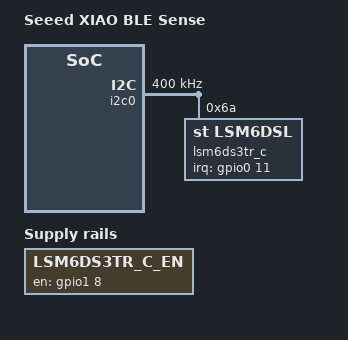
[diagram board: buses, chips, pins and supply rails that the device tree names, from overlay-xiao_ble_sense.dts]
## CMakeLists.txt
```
# SPDX-License-Identifier: Apache-2.0

cmake_minimum_required(VERSION 3.20.0)
find_package(Zephyr REQUIRED HINTS $ENV{ZEPHYR_BASE})
project(nrf52840_nordic)
enable_language(C ASM)

target_sources(app PRIVATE
    src/main.c
    src/transport.c
    src/mic.c
    src/led.c
    src/audio.c
    src/codec.c
    src/storage.c
    src/lib/battery/battery.c
    src/lib/sdcard/sdcard.c
)

target_sources_ifdef(CONFIG_CODEC_OPUS app PRIVATE
    src/lib/opus-1.2.1/A2NLSF.c
    src/lib/opus-1.2.1/CNG.c
    src/lib/opus-1.2.1/HP_variable_cutoff.c
    src/lib/opus-1.2.1/LPC_analysis_filter.c
    src/lib/opus-1.2.1/LPC_fit.c
    src/lib/opus-1.2.1/LPC_inv_pred_gain.c
    src/lib/opus-1.2.1/LP_variable_cutoff.c
    src/lib/opus-1.2.1/LTP_analysis_filter_FIX.c
    src/lib/opus-1.2.1/LTP_scale_ctrl_FIX.c
    src/lib/opus-1.2.1/NLSF2A.c
    src/lib/opus-1.2.1/NLSF_VQ.c
    src/lib/opus-1.2.1/NLSF_VQ_weights_laroia.c
    src/lib/opus-1.2.1/NLSF_decode.c
    src/lib/opus-1.2.1/NLSF_del_dec_quant.c
    src/lib/opus-1.2.1/NLSF_encode.c
    src/lib/opus-1.2.1/NLSF_stabilize.c
    src/lib/opus-1.2.1/NLSF_unpack.c
    src/lib/opus-1.2.1/NSQ.c
    src/lib/opus-1.2.1/NSQ_del_dec.c
    src/lib/opus-1.2.1/PLC.c
    src/lib/opus-1.2.1/VAD.c
    src/lib/opus-1.2.1/VQ_WMat_EC.c
    src/lib/opus-1.2.1/ana_filt_bank_1.c
    src/lib/opus-1.2.1/analysis.c
    src/lib/opus-1.2.1/apply_sine_window_FIX.c
    src/lib/opus-1.2.1/autocorr_FIX.c
    src/lib/opus-1.2.1/bands.c
    src/lib/opus-1.2.1/biquad_alt.c
    src/lib/opus-1.2.1/burg_modified_FIX.c
    src/lib/opus-1.2.1/bwexpander.c
    src/lib/opus-1.2.1/bwexpander_32.c
    src/lib/opus-1.2.1/celt.c
    src/lib/opus-1.2.1/celt_decoder.c
    src/lib/opus-1.2.1/celt_encoder.c
    src/lib/opus-1.2.1/celt_lpc.c
    src/lib/opus-1.2.1/arm/celt_pitch_xcorr_arm_gcc.s
    src/lib/opus-1.2.1/check_control_input.c
    src/lib/opus-1.2.1/code_signs.c
    src/lib/opus-1.2.1/control_SNR.c
    src/lib/opus-1.2.1/control_audio_bandwidth.c
    src/lib/opus-1.2.1/control_codec.c
    src/lib/opus-1.2.1/corrMatrix_FIX.c
    src/lib/opus-1.2.1/cwrs.c
    src/lib/opus-1.2.1/debug.c
    src/lib/opus-1.2.1/dec_API.c
    src/lib/opus-1.2.1/decode_core.c
    src/lib/opus-1.2.1/decode_frame.c
    src/lib/opus-1.2.1/decode_indices.c
    src/lib/opus-1.2.1/decode_parameters.c
    src/lib/opus-1.2.1/decode_pitch.c
    src/lib/opus-1.2.1/decode_pulses.c
    src/lib/opus-1.2.1/decoder_set_fs.c
    src/lib/opus-1.2.1/enc_API.c
    src/lib/opus-1.2.1/encode_frame_FIX.c
    src/lib/opus-1.2.1/encode_indices.c
    src/lib/opus-1.2.1/encode_pulses.c
    src/lib/opus-1.2.1/entcode.c
    src/lib/opus-1.2.1/entdec.c
    src/lib/opus-1.2.1/entenc.c
    src/lib/opus-1.2.1/find_LPC_FIX.c
    src/lib/opus-1.2.1/find_LTP_FIX.c
    src/lib/opus-1.2.1/find_pitch_lags_FIX.c
    src/lib/opus-1.2.1/find_pred_coefs_FIX.c
    src/lib/opus-1.2.1/gain_quant.c
    src/lib/opus-1.2.1/init_decoder.c
    src/lib/opus-1.2.1/init_encoder.c
    src/lib/opus-1.2.1/inner_prod_aligned.c
    src/lib/opus-1.2.1/interpolate.c
    src/lib/opus-1.2.1/k2a_FIX.c
    src/lib/opus-1.2.1/k2a_Q16_FIX.c
    src/lib/opus-1.2.1/kiss_fft.c
    src/lib/opus-1.2.1/laplace.c
    src/lib/opus-1.2.1/lin2log.c
    src/lib/opus-1.2.1/log2lin.c
    src/lib/opus-1.2.1/mathops.c
    src/lib/opus-1.2.1/mdct.c
    src/lib/opus-1.2.1/mlp.c
    src/lib/opus-1.2.1/mlp_data.c
    src/lib/opus-1.2.1/modes.c
    src/lib/opus-1.2.1/noise_shape_analysis_FIX.c
    src/lib/opus-1.2.1/opus.c
    src/lib/opus-1.2.1/opus_decoder.c
    src/lib/opus-1.2.1/opus_encoder.c
    src/lib/opus-1.2.1/opus_multistream.c
    src/lib/opus-1.2.1/opus_multistream_decoder.c
    src/lib/opus-1.2.1/opus_multistream_encoder.c
    src/lib/opus-1.2.1/pitch.c
    src/lib/opus-1.2.1/pitch_analysis_core_FIX.c
    src/lib/opus-1.2.1/pitch_est_tables.c
    src/lib/opus-1.2.1/process_NLSFs.c
    src/lib/opus-1.2.1/process_gains_FIX.c
    src/lib/opus-1.2.1/quant_LTP_gains.c
    src/lib/opus-1.2.1/quant_bands.c
    src/lib/opus-1.2.1/rate.c
    src/lib/opus-1.2.1/regularize_correlations_FIX.c
    src/lib/opus-1.2.1/repacketizer.c
    src/lib/opus-1.2.1/resampler.c
    src/lib/opus-1.2.1/resampler_down2.c
    src/lib/opus-1.2.1/resampler_down2_3.c
    src/lib/opus-1.2.1/resampler_private_AR2.c
    src/lib/opus-1.2.1/resampler_private_IIR_FIR.c
    src/lib/opus-1.2.1/resampler_private_down_FIR.c
    src/lib/opus-1.2.1/resampler_private_up2_HQ.c
    src/lib/opus-1.2.1/resampler_rom.c
    src/lib/opus-1.2.1/residual_energy16_FIX.c
    src/lib/opus-1.2.1/residual_energy_FIX.c
    src/lib/opus-1.2.1/schur64_FIX.c
    src/lib/opus-1.2.1/schur_FIX.c
    src/lib/opus-1.2.1/shell_coder.c
    src/lib/opus-1.2.1/sigm_Q15.c
    src/lib/opus-1.2.1/sort.c
    src/lib/opus-1.2.1/stereo_LR_to_MS.c
    src/lib/opus-1.2.1/stereo_MS_to_LR.c
    src/lib/opus-1.2.1/stereo_decode_pred.c
    src/lib/opus-1.2.1/stereo_encode_pred.c
    src/lib/opus-1.2.1/stereo_find_predictor.c
    src/lib/opus-1.2.1/stereo_quant_pred.c
    src/lib/opus-1.2.1/sum_sqr_shift.c
    src/lib/opus-1.2.1/table_LSF_cos.c
    src/lib/opus-1.2.1/tables_LTP.c
    src/lib/opus-1.2.1/tables_NLSF_CB_NB_MB.c
    src/lib/opus-1.2.1/tables_NLSF_CB_WB.c
    src/lib/opus-1.2.1/tables_gain.c
    src/lib/opus-1.2.1/tables_other.c
    src/lib/opus-1.2.1/tables_pitch_lag.c
    src/lib/opus-1.2.1/tables_pulses_per_block.c
    src/lib/opus-1.2.1/vector_ops_FIX.c
    src/lib/opus-1.2.1/vq.c
    src/lib/opus-1.2.1/warped_autocorrelation_FIX.c
    src/lib/opus-1.2.1/arm/celt_pitch_xcorr_arm_gcc.s
)

set(CMAKE_C_FLAGS "${CMAKE_C_FLAGS} -DARM_MATH_CM4")
# set(CMAKE_C_FLAGS "${CMAKE_C_FLAGS} -DVAR_ARRAYS")
set(CMAKE_C_FLAGS "${CMAKE_C_FLAGS} -DOPUS_ARM_ASM")
set(CMAKE_C_FLAGS "${CMAKE_C_FLAGS} -DOPUS_ARM_INLINE_ASM")
set(CMAKE_C_FLAGS "${CMAKE_C_FLAGS} -DOPUS_ARM_INLINE_EDSP")
set(CMAKE_C_FLAGS "${CMAKE_C_FLAGS} -DOPUS_ARM_INLINE_MEDIA")
set(CMAKE_C_FLAGS "${CMAKE_C_FLAGS} -DOPUS_ARM_MAY_HAVE_EDSP")
set(CMAKE_C_FLAGS "${CMAKE_C_FLAGS} -DOPUS_ARM_PRESUME_EDSP")
set(CMAKE_C_FLAGS "${CMAKE_C_FLAGS} -DOPUS_BUILD")
set(CMAKE_C_FLAGS "${CMAKE_C_FLAGS} -DUSE_ALLOCA")
set(CMAKE_C_FLAGS "${CMAKE_C_FLAGS} -DFIXED_POINT -DDISABLE_FLOAT_API")
set(CMAKE_C_FLAGS "${CMAKE_C_FLAGS} -DHAVE_CONFIG_H")
set(CMAKE_C_FLAGS "${CMAKE_C_FLAGS} -DHAVE_ALLOCA_H")
set(CMAKE_C_FLAGS "${CMAKE_C_FLAGS} -fsingle-precision-constant") # A lot of constants are written as doubles
set(CMAKE_C_FLAGS "${CMAKE_C_FLAGS} -DHAVE_LRINT -DHAVE_LRINTF")
```

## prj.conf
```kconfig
#
# Hardware settings
#

CONFIG_GPIO=y
CONFIG_NRFX_PDM=y
CONFIG_ADC=y


#
# SD Card settings
#

CONFIG_DISK_ACCESS=y
CONFIG_FILE_SYSTEM=y
CONFIG_FAT_FILESYSTEM_ELM=y
CONFIG_FS_FATFS_MOUNT_MKFS=y
CONFIG_FS_FATFS_EXFAT=y
CONFIG_PRINTK=y
CONFIG_MAIN_STACK_SIZE=5096
CONFIG_DEBUG_OPTIMIZATIONS=y
CONFIG_DISK_DRIVER_SDMMC=y
CONFIG_SPI=y
CONFIG_HEAP_MEM_POOL_SIZE=3048

#
# Bluetooth settings
#

CONFIG_BT=y
CONFIG_BT_PERIPHERAL=y
CONFIG_BT_DEVICE_NAME="Friend"
CONFIG_BT_MAX_CONN=1
CONFIG_BT_MAX_PAIRED=1
CONFIG_BT_DEVICE_APPEARANCE=22
CONFIG_BT_GATT_DYNAMIC_DB=y

# CONFIG_BT_L2CAP_DYNAMIC_CHANNEL=y
# CONFIG_BT_SMP=y
# CONFIG_BT_LL_SW_SPLIT=y # Alternative implementation

# Battery and Device Information services
CONFIG_BT_BAS=y
CONFIG_BT_DIS=y
CONFIG_BT_DIS_PNP=n
CONFIG_BT_DIS_MODEL="Friend"
CONFIG_BT_DIS_MANUF="Based Hardware"
CONFIG_BT_DIS_FW_REV=y
CONFIG_BT_DIS_HW_REV=y
CONFIG_BT_DIS_FW_REV_STR="1.0.3"
CONFIG_BT_DIS_HW_REV_STR="Seeed Xiao BLE Sense"

# Large packets
CONFIG_BT_L2CAP_TX_MTU=498
CONFIG_BT_L2CAP_TX_BUF_COUNT=10
# CONFIG_BT_ATT_TX_COUNT=10
CONFIG_BT_CONN_TX_MAX=30
CONFIG_BT_BUF_ACL_RX_SIZE=2048
CONFIG_BT_BUF_ACL_TX_SIZE=2048
CONFIG_BT_CTLR_DATA_LENGTH_MAX=251

CONFIG_BT_USER_DATA_LEN_UPDATE=y
CONFIG_BT_AUTO_DATA_LEN_UPDATE=y
CONFIG_BT_USER_PHY_UPDATE=y
CONFIG_BT_AUTO_PHY_UPDATE=y

# Codecs
# CONFIG_LIBLC3=y

# Debug
# CONFIG_DEBUG=y
# CONFIG_ASSERT=y
# CONFIG_LOG=y
# CONFIG_LOG_PRINTK=y
# CONFIG_LOG_BUFFER_SIZE=4096
# CONFIG_LOG_PROCESS_THREAD_STACK_SIZE=4096
# CONFIG_LOG_MODE_IMMEDIATE=y

# Log Levels
# CONFIG_BT_DEBUG_LOG=y
# CONFIG_BT_L2CAP_LOG_LEVEL_DBG=y
# CONFIG_BT_LOG_LEVEL_DBG=y

# CONFIG_LOG_PROCESS_THREAD_STACK_SIZE=4096
# CONFIG_BT_RX_STACK_SIZE=4096
# CONFIG_BT_CTLR_RX_PRIO_STACK_SIZE=4096
# CONFIG_BT_DEBUG_LOG=y
# CONFIG_LOG_BUFFER_SIZE=32000
# CONFIG_LOG_OVERRIDE_LEVEL=4
# CONFIG_LOG_PROCESS_THREAD_STACK_SIZE=4096
# CONFIG_BT_RX_STACK_SIZE=4096
# CONFIG_BT_CTLR_RX_PRIO_STACK_SIZE=4096

# RTT
# CONFIG_UART_CONSOLE=n
# CONFIG_SEGGER_RTT_BUFFER_SIZE_UP=2048
# CONFIG_RTT_CONSOLE=y
# CONFIG_LOG_BACKEND_RTT=y
```

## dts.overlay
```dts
/*
 * Copyright (c) 2022-2023 Marcin Niestroj
 *
 * SPDX-License-Identifier: Apache-2.0
 */

 /dts-v1/;
 #include "xiao_ble_common.dtsi"
 #include <zephyr/dt-bindings/spi/spi.h>
 #include <zephyr/dt-bindings/gpio/nordic-nrf-gpio.h>
 
 &spi2 {
     compatible = "nordic,nrf-spi";
     status = "okay";
     sck-pin = <13>;    /* SPI clock pin */
     mosi-pin = <15>;   /* SPI MOSI pin */
     miso-pin = <14>;   /* SPI MISO pin */
     cs-gpios = <&gpio1 12 GPIO_ACTIVE_LOW>;  /* SPI Chip Select pin */
     pinctrl-0 = <&spi2_default>;
     pinctrl-names = "default";
 };
 
 &pinctrl {
	spi2_default: spi2_default {
		pins = <NRF_P0_PIN(13) /* SCK */
			NRF_P0_PIN(15) /* MOSI */
			NRF_P0_PIN(14) /* MISO */
			NRF_P0_PIN(12) /* CS */
		>;
	};
};
```

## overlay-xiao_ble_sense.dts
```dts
/*
 * Copyright (c) 2022-2023 Marcin Niestroj
 *
 * SPDX-License-Identifier: Apache-2.0
 */

/dts-v1/;
#include "xiao_ble_common.dtsi"
#include <zephyr/dt-bindings/i2c/i2c.h>
#include <zephyr/dt-bindings/gpio/nordic-nrf-gpio.h>

/ {
	model = "Seeed XIAO BLE Sense";
	compatible = "seeed,xiao-ble", "seeed,xiao-ble-sense";

	lsm6ds3tr-c-en {
		compatible = "regulator-fixed-sync", "regulator-fixed";
		enable-gpios = <&gpio1 8 (NRF_GPIO_DRIVE_S0H1 | GPIO_ACTIVE_HIGH)>;
		regulator-name = "LSM6DS3TR_C_EN";
		regulator-boot-on;
		startup-delay-us = <3000>;
	};
};

&i2c0 {
	compatible = "nordic,nrf-twim";
	/* Cannot be used together with spi0. */
	status = "okay";
	pinctrl-0 = <&i2c0_default>;
	pinctrl-1 = <&i2c0_sleep>;
	pinctrl-names = "default", "sleep";
	clock-frequency = <I2C_BITRATE_FAST>;

	lsm6ds3tr_c: lsm6ds3tr-c@6a {
		compatible = "st,lsm6dsl";
		reg = <0x6a>;
		irq-gpios = <&gpio0 11 GPIO_ACTIVE_HIGH>;
		status = "okay";
	};
};
```

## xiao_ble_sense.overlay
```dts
&spi2 {
	status = "okay";
	pinctrl-0 = <&custom_spi>;
	pinctrl-1 = <&custom_spi>;
	pinctrl-names = "default", "sleep";
	cs-gpios = <&gpio0 28 GPIO_ACTIVE_LOW>;

	sdhc0: sdhc@0 {
		compatible = "zephyr,sdhc-spi-slot";
		reg = <0>;
		status = "okay";
		label = "SDHC_0";
		mmc {
			compatible = "zephyr,sdmmc-disk";
			status = "okay";
		};
		spi-max-frequency = <40000000>;
	};
};

&pinctrl {
	custom_spi: custom_spi {
		group1 {
			psels = <NRF_PSEL(SPIM_SCK, 1, 13)>,
				<NRF_PSEL(SPIM_MOSI, 1, 15)>,
				<NRF_PSEL(SPIM_MISO, 1, 14)>;
		};
	};
};
```

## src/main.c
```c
#include <zephyr/kernel.h>
#include <zephyr/logging/log.h>
#include "transport.h"
#include "storage.h"
#include "mic.h"
#include "utils.h"
#include "led.h"
#include "config.h"
#include "audio.h"
#include "codec.h"

static void codec_handler(uint8_t *data, size_t len)
{
	broadcast_audio_packets(data, len); // Errors are logged inside
}

static void mic_handler(int16_t *buffer)
{
	codec_receive_pcm(buffer, MIC_BUFFER_SAMPLES); // Errors are logged inside
}

void bt_ctlr_assert_handle(char *name, int type)
{
	if (name != NULL)
	{
		printk("Bt assert-> %s", name);
	}
}

// Main loop
int main(void)
{
	// Led start
	ASSERT_OK(led_start());
	set_led_blue(true);

	// Transport start
	ASSERT_OK(transport_start());

	// Codec start
	set_codec_callback(codec_handler);
	ASSERT_OK(codec_start());

	// Mic start
	set_mic_callback(mic_handler);
	ASSERT_OK(mic_start());

	// Storage start
	init_storage();

	// Blink LED
	bool is_on = true;
	//set_led_blue(false);
	set_led_red(is_on);

	while (1)
	{
		read_audio_in_storage();
		
		is_on = !is_on;
		set_led_red(is_on);
		k_msleep(500);
	}

	// Unreachable
	return 0;
}
```

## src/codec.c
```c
#include <zephyr/sys/ring_buffer.h>
#include "codec.h"
#include "audio.h"
#include "config.h"
#include "utils.h"
#ifdef CODEC_OPUS
#include "lib/opus-1.2.1/opus.h"
#endif

//
// Output
//

static volatile codec_callback _callback = NULL;
static bool verbose = false;

void set_codec_callback(codec_callback callback)
{
    _callback = callback;
}

//
// Input
//

uint8_t codec_ring_buffer_data[AUDIO_BUFFER_SAMPLES * 2]; // 2 bytes per sample
struct ring_buf codec_ring_buf;

int codec_receive_pcm(int16_t *data, size_t len)
{
    int written = ring_buf_put(&codec_ring_buf, (uint8_t *)data, len * 2);
    if (written != len * 2)
    {
        if(verbose) printk("Failed to write %d bytes to codec ring buffer\n", len * 2);
        return -1;
    }
    return 0;
}

//
// Thread
//

int16_t codec_input_samples[CODEC_PACKAGE_SAMPLES];
uint8_t codec_output_bytes[CODEC_OUTPUT_MAX_BYTES];
K_THREAD_STACK_DEFINE(codec_stack, 32000);
static struct k_thread codec_thread;
uint16_t execute_codec();

#if CODEC_OPUS
#if (CONFIG_OPUS_MODE == CONFIG_OPUS_MODE_CELT)
#define OPUS_ENCODER_SIZE 7180
#endif
#if (CONFIG_OPUS_MODE == CONFIG_OPUS_MODE_HYBRID)
#define OPUS_ENCODER_SIZE 10916
#endif
__ALIGN(4)
static uint8_t m_opus_encoder[OPUS_ENCODER_SIZE];
static OpusEncoder *const m_opus_state = (OpusEncoder *)m_opus_encoder;
#endif

void codec_entry()
{
    uint16_t output_size;
    while (1)
    {

        // Check if we have enough data
        if (ring_buf_size_get(&codec_ring_buf) < CODEC_PACKAGE_SAMPLES * 2)
        {
            k_sleep(K_MSEC(10));
            continue;
        }

        // Read package
        ring_buf_get(&codec_ring_buf, (uint8_t *)codec_input_samples, CODEC_PACKAGE_SAMPLES * 2);

        // Run Codec
        output_size = execute_codec();

        // Notify
        if (_callback)
        {
            _callback(codec_output_bytes, output_size);
        }

        // Yield
        k_yield();
    }
}

int codec_start()
{
    
// OPUS
#if CODEC_OPUS
    ASSERT_TRUE(opus_encoder_get_size(1) == sizeof(m_opus_encoder));
    ASSERT_TRUE(opus_encoder_init(m_opus_state, 16000, 1, CODEC_OPUS_APPLICATION) == OPUS_OK);
    ASSERT_TRUE(opus_encoder_ctl(m_opus_state, OPUS_SET_BITRATE(CODEC_OPUS_BITRATE)) == OPUS_OK);
    ASSERT_TRUE(opus_encoder_ctl(m_opus_state, OPUS_SET_VBR(CODEC_OPUS_VBR)) == OPUS_OK);
    ASSERT_TRUE(opus_encoder_ctl(m_opus_state, OPUS_SET_VBR_CONSTRAINT(0)) == OPUS_OK);
    ASSERT_TRUE(opus_encoder_ctl(m_opus_state, OPUS_SET_COMPLEXITY(CODEC_OPUS_COMPLEXITY)) == OPUS_OK);
    ASSERT_TRUE(opus_encoder_ctl(m_opus_state, OPUS_SET_SIGNAL(OPUS_SIGNAL_VOICE)) == OPUS_OK);
    ASSERT_TRUE(opus_encoder_ctl(m_opus_state, OPUS_SET_LSB_DEPTH(16)) == OPUS_OK);
    ASSERT_TRUE(opus_encoder_ctl(m_opus_state, OPUS_SET_DTX(0)) == OPUS_OK);
    ASSERT_TRUE(opus_encoder_ctl(m_opus_state, OPUS_SET_INBAND_FEC(0)) == OPUS_OK);
    ASSERT_TRUE(opus_encoder_ctl(m_opus_state, OPUS_SET_PACKET_LOSS_PERC(0)) == OPUS_OK);
#endif

    // Thread
    ring_buf_init(&codec_ring_buf, sizeof(codec_ring_buffer_data), codec_ring_buffer_data);
    k_thread_create(&codec_thread, codec_stack, K_THREAD_STACK_SIZEOF(codec_stack), (k_thread_entry_t)codec_entry, NULL, NULL, NULL, K_PRIO_PREEMPT(4), 0, K_NO_WAIT);

    // Success
    return 0;
}

//
// MU-Law codec
//

#if CODEC_MU_LAW

uint16_t execute_codec()
{
    for (int i = 0; i < CODEC_PACKAGE_SAMPLES / CODEC_DIVIDER; i++)
    {
        codec_output_bytes[i] = linear2ulaw(codec_input_samples[i * CODEC_DIVIDER]);
    }
    return CODEC_PACKAGE_SAMPLES / CODEC_DIVIDER;
}

#endif

//
// PCM codec
//

#if CODEC_PCM

uint16_t execute_codec()
{
    for (int i = 0; i < CODEC_PACKAGE_SAMPLES / CODEC_DIVIDER; i++)
    {
        codec_output_bytes[i * 2] = codec_input_samples[i * CODEC_DIVIDER] & 0xFF;
        codec_output_bytes[i * 2 + 1] = (codec_input_samples[i * CODEC_DIVIDER] >> 8) & 0xFF;
    }
    return (CODEC_PACKAGE_SAMPLES / CODEC_DIVIDER) * 2;
}
#endif

//
// Opus codec
//

#if CODEC_OPUS

uint16_t execute_codec()
{
    opus_int32 size = opus_encode(m_opus_state, codec_input_samples, CODEC_PACKAGE_SAMPLES, codec_output_bytes, sizeof(codec_output_bytes));
    if (size < 0)
    {
        printk("Opus encoding failed: %d\n", size);
        return 0;
    }
    // printk("Opus encoding success: %i\n", size);
    return size;
}

#endif
```

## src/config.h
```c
#include <haly/nrfy_gpio.h>

// #define SAMPLE_RATE 16000
#define MIC_GAIN 64
#define MIC_IRC_PRIORITY 7
#define MIC_BUFFER_SAMPLES 1600    // 100ms
#define AUDIO_BUFFER_SAMPLES 16000 // 1s
#define NETWORK_RING_BUF_SIZE 32   // number of frames * CODEC_OUTPUT_MAX_BYTES
#define MINIMAL_PACKET_SIZE 100    // Less than that doesn't make sence to send anything at all

// PIN definitions
// https://github.com/Seeed-Studio/Adafruit_nRF52_Arduino/blob/5aa3573913449410fd60f76b75673c53855ff2ec/variants/Seeed_XIAO_nRF52840_Sense/variant.cpp#L34
#define PDM_DIN_PIN NRF_GPIO_PIN_MAP(0, 16)
#define PDM_CLK_PIN NRF_GPIO_PIN_MAP(1, 0)
#define PDM_PWR_PIN NRF_GPIO_PIN_MAP(1, 10)

// Codecs
// #define CODEC_PCM 1
// #define CODEC_MU_LAW 1
#define CODEC_OPUS 1

// Codec packages
#if CODEC_PCM | CODEC_MU_LAW
#define CODEC_DIVIDER 2           // 1 or 2
#define CODEC_PACKAGE_SAMPLES 160 // 10ms
#if CODEC_PCM
#define CODEC_OUTPUT_MAX_BYTES CODEC_PACKAGE_SAMPLES * 2
#else
#define CODEC_OUTPUT_MAX_BYTES CODEC_PACKAGE_SAMPLES
#endif
#endif

#if CODEC_OPUS
#define CODEC_PACKAGE_SAMPLES 160
#define CODEC_OUTPUT_MAX_BYTES CODEC_PACKAGE_SAMPLES * 2 // Let's assume that 16bit is enough
#define CODEC_OPUS_APPLICATION OPUS_APPLICATION_RESTRICTED_LOWDELAY
#define CODEC_OPUS_BITRATE 32000
#define CODEC_OPUS_VBR 1 // Or 1
#define CODEC_OPUS_COMPLEXITY 3
#endif
#define CONFIG_OPUS_MODE CONFIG_OPUS_MODE_CELT

// Codec IDs
#ifdef CODEC_PCM
#if CODEC_DIVIDER == 1
#define CODEC_ID 0
#elif CODEC_DIVIDER == 2
#define CODEC_ID 1
#endif
#endif

#ifdef CODEC_MU_LAW
#if CODEC_DIVIDER == 1
#define CODEC_ID 10
#elif CODEC_DIVIDER == 2
#define CODEC_ID 11
#endif
#endif

#ifdef CODEC_OPUS
#define CODEC_ID 20
#endif

// Logs
// #define LOG_DISCARDED
```

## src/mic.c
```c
#include <zephyr/kernel.h>
#include <zephyr/device.h>
#include <zephyr/drivers/gpio.h>
#include <haly/nrfy_gpio.h>
#include "nrfx_clock.h"
#include "nrfx_pdm.h"
#include "config.h"
#include "mic.h"
#include "utils.h"
#include "led.h"

//
// Port of this code: https://github.com/Seeed-Studio/Seeed_Arduino_Mic/blob/master/src/hardware/nrf52840_adc.cpp
//

static int16_t _buffer_0[MIC_BUFFER_SAMPLES];
static int16_t _buffer_1[MIC_BUFFER_SAMPLES];
static volatile uint8_t _next_buffer_index = 0;
static volatile mix_handler _callback = NULL;

static void pdm_irq_handler(nrfx_pdm_evt_t const *event)
{
    // Ignore error (how to handle?)
    if (event->error)
    {
        printk("PDM error\n");
        return;
    }

    // Assign buffer
    if (event->buffer_requested)
    {
        // printk("Buffer requested\n");
        if (_next_buffer_index == 0)
        {
            nrfx_pdm_buffer_set(_buffer_0, MIC_BUFFER_SAMPLES);
            _next_buffer_index = 1;
        }
        else
        {
            nrfx_pdm_buffer_set(_buffer_1, MIC_BUFFER_SAMPLES);
            _next_buffer_index = 0;
        }
    }

    // Release buffer
    if (event->buffer_released)
    {
        // printk("Buffer released\n");
        if (_callback)
        {
            _callback(event->buffer_released);
        }
    }
}

int mic_start()
{

    // Start the high frequency clock
    if (!nrf_clock_hf_is_running(NRF_CLOCK, NRF_CLOCK_HFCLK_HIGH_ACCURACY))
    {
        nrf_clock_task_trigger(NRF_CLOCK, NRF_CLOCK_TASK_HFCLKSTART);
    }

    // Configure PDM
    nrfx_pdm_config_t pdm_config = NRFX_PDM_DEFAULT_CONFIG(PDM_CLK_PIN, PDM_DIN_PIN);
    pdm_config.gain_l = MIC_GAIN;
    pdm_config.gain_r = MIC_GAIN;
    pdm_config.interrupt_priority = MIC_IRC_PRIORITY;
    pdm_config.clock_freq = NRF_PDM_FREQ_1280K;
    pdm_config.mode = NRF_PDM_MODE_MONO;
    pdm_config.edge = NRF_PDM_EDGE_LEFTFALLING;
    pdm_config.ratio = NRF_PDM_RATIO_80X;
    IRQ_DIRECT_CONNECT(PDM_IRQn, 5, nrfx_pdm_irq_handler, 0); // IMPORTANT!
    if (nrfx_pdm_init(&pdm_config, pdm_irq_handler) != NRFX_SUCCESS)
    {
        printk("Unable to initialize PDM\n");
        return -1;
    }

    // Power on Mic
    nrfy_gpio_cfg_output(PDM_PWR_PIN);
    nrfy_gpio_pin_set(PDM_PWR_PIN);

    // Start PDM
    if (nrfx_pdm_start() != NRFX_SUCCESS)
    {
        printk("Unable to start PDM\n");
        return -1;
    }

    printk("Microphone started\n");
    return 0;
}

void set_mic_callback(mix_handler callback) {
    _callback = callback;
}
```

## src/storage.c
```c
#include "storage.h"

static char current_path[MAX_PATH_SIZE];
const size_t written_max_count = 1000; // number of frames per file
static char file_path[MAX_PATH_SIZE];
static bool written_concat = true;
static size_t written_count = 0;
static uint16_t file_count = 0;
static bool verbose = true; // set to true if you want to enable verbose output
int notification_value = 0;


int init_storage(void)
{
    if (mount_sd_card())
    {
        if (verbose) printf("Failed to mount SD card\n");
        mounted = false;
        return -1;
    }

    if (verbose) printf("Successfully mounted SD card\n");
    mounted = true;
    return 0;    
}

ReadInfo get_current_file(void)
{
    ReadInfo readInfo;
    readInfo.ret = -1;

    ReadParams info = read_file("info.txt");

    if (info.ret < 0)
    {
        readInfo.ret = -1;
        return readInfo;
    }

    if (info.data != NULL)
    {
        uint8_t number;
        char *file_name = extract_after(info.data);
        extract_number(info.data, &number);
        free(file_name);
        readInfo.name = number;
        readInfo.ret = 0;
    }
    return readInfo;
}

ReadParams verify_info(void)
{
    ReadParams res;
    res.data = '\0';
    int status = -1;
    res.ret = 0;

    if (written_count == 0) 
    {
        res = read_file("info.txt");

        if (strlen(res.data) == 0)
        {
            create_file("audio/1.txt");
            write_info("audio/1.txt,status:NO");

            res.data = "audio/1.txt";
            res.ret = 0;
            
            return res;
        }

        if (res.ret == 0 && res.data != NULL)
        {   
            uint8_t number;
            process_file(res.data, current_path, &status);
            
            if (extract_number(current_path, &number) == 0) 
            {
                notification_value = number;
                file_count = number;
            }

            res.ret = status;
            res.data = current_path;
        }
    }
    return res;
}

int if_file_exist(void)
{
    ReadParams ret = verify_info();
    
    if (ret.ret >= 0 && !written_concat)
    {
        char file_info[MAX_DATA_SIZE];
        char *result = extract_after(current_path);
        if (result == NULL)
        {
            if(verbose) printf("Failed to extract after\n");
            return -1;
        }

        char *new_filename = generate_next_filename(result);

        free(result);

        if (new_filename != NULL)
        {
            snprintf(file_path, sizeof(file_path), "audio/%s", new_filename);
            snprintf(file_info, sizeof(file_info), "audio/%s,status:NO", new_filename);
            
            create_file(file_path);
            write_info(file_info);

            written_concat = true;
            
            free(new_filename);

            return 0;
        }
    }

    if (written_concat && ret.data != NULL)
    {
        strncpy(file_path, ret.data, sizeof(file_path) - 1);
        set_path(file_path);
    }

    return 0;
}

int save_audio_in_storage(uint8_t *buffer, size_t lenght)
{
    if (!mounted) return -2;

    int ret = if_file_exist();

    if (ret > -1)
    {
        bool endBuffer = false;
        
        if (written_count < written_max_count)
        {
            if (written_count == written_max_count - 1)
            {
                endBuffer = true;
            }
            int res = write_file(buffer, lenght, true, endBuffer);
            if(res > -1) written_count++;
        }

        if (written_count == written_max_count)
        {
            written_concat = false;
            written_count = 0;
        }

        return 0;
    }
    return -1;
}

char *generate_next_filename(const char *input_filename) 
{
    char result[MAX_PATH_SIZE];

    size_t input_length = strlen(input_filename);
    if (input_length < 5) 
    {
        return NULL;
    }

    char number_part[MAX_PATH_SIZE];
    strncpy(number_part, input_filename, input_length - 4);
    number_part[input_length - 4] = '\0';

    uint8_t number = (uint8_t)atoi(number_part);
    number++;

    snprintf(result, sizeof(result), "%d.txt", number);

    char *static_result = strdup(result);
    return static_result;
}

void process_file(const char *file, char *path, int *status) 
{
    if (file == NULL || path == NULL || status == NULL) 
    {
        return;
    }
    
    size_t trunc_length = 10;
    size_t file_len = strlen(file);

    if (file_len > trunc_length) 
    {
        if (file_len - trunc_length > 4)
        {
            strncpy(path, file, file_len - trunc_length);
            path[file_len - trunc_length] = '\0';
        } 
        else
        {
            path[0] = '\0';
        }
    } 
    else 
    {
        path[0] = '\0';
    }

    const char *status_str = file + file_len - 2;
    if (strcmp(status_str, "OK") == 0) 
    {
        *status = 0;
    } 
    else if (strcmp(status_str, "NO") == 0) 
    {
        *status = 1;
    } 
    else 
    {
        *status = -1;
    }
}

char *extract_after(const char *data) 
{
    if (data == NULL)
    {
        return NULL;
    }

    const char *prefix = "audio/";
    const char *prefix_position = strstr(data, prefix);
    char *result = NULL;

    if (prefix_position != NULL) 
    {
        prefix_position += strlen(prefix);

        size_t result_length = strlen(prefix_position) + 1;
        result = (char *)malloc(result_length);

        if (result != NULL) 
        {
            strcpy(result, prefix_position);
        }
    } 
    else 
    {
        result = (char *)malloc(1);
        if (result != NULL) 
        {
            result[0] = '\0';
        }
    }

    return result;
}

int extract_number(const char *input, uint8_t *number) 
{
    if (input == NULL || number == NULL) 
    {
        return -1;
    }

    const char *start = strchr(input, '/');
    if (start == NULL) 
    {
        return -1;
    }

    start++;

    const char *end = strchr(start, '.');
    if (end == NULL) 
    {
        return -1;
    }
    
    size_t length = end - start;
    char num_str[10];

    if (length >= sizeof(num_str)) 
    {
        return -1;
    }
    
    strncpy(num_str, start, length);
    num_str[length] = '\0';

    int value = atoi(num_str);
    if (value < 0 || value > 255) 
    {
        return -1;
    }
    
    *number = (uint8_t)value;
    return 0;
}
```

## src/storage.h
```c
#ifndef STORAGE_H
#define STORAGE_H

#include <stdbool.h>
#include <stdint.h>
#include <stddef.h>
#include "lib/sdcard/sdcard.h"
#include "lib/sdcard/sdcard.h"
#include "lib/storage/config.h"

extern const size_t written_max_count;
extern int notification_value;

typedef struct {
    uint8_t name;
    int ret;
} ReadInfo;

int init_storage(void);

ReadParams verify_info(void);

char *extract_after(const char *data);

int extract_number(const char *input, uint8_t *number);

int save_audio_in_storage(uint8_t *buffer, size_t lenght);

void process_file(const char *file, char *path, int *status);

void uint8_buffer_to_char_data(const uint8_t *buffer, size_t length, char *data, size_t data_size);

char *generate_next_filename(const char *current_filename);

ReadInfo get_current_file(void);

int generate_info_data(void);

#endif // STORAGE_H
```

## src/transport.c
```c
#include <zephyr/logging/log.h>
#include <zephyr/sys/ring_buffer.h>
#include <zephyr/bluetooth/bluetooth.h>
#include <zephyr/bluetooth/uuid.h>
#include <zephyr/bluetooth/gatt.h>
#include <zephyr/bluetooth/l2cap.h>
#include <zephyr/bluetooth/services/bas.h>
#include <zephyr/drivers/gpio.h>
#include <zephyr/sys/atomic.h>
#include "lib/battery/battery.h"
#include "transport.h"
#include "config.h"
#include "utils.h"
#include "btutils.h"
#include "storage.h"

static bool reset_buf_event = true;
static uint32_t storage_action = 0;
static bool verbose = false;

//
// Internal
//

static struct bt_conn_cb _callback_references;

static void audio_ccc_config_changed_handler(const struct bt_gatt_attr *attr, uint16_t value);
static ssize_t audio_data_read_characteristic(struct bt_conn *conn, const struct bt_gatt_attr *attr, void *buf, uint16_t len, uint16_t offset);
static ssize_t audio_codec_read_characteristic(struct bt_conn *conn, const struct bt_gatt_attr *attr, void *buf, uint16_t len, uint16_t offset);

static void dfu_ccc_config_changed_handler(const struct bt_gatt_attr *attr, uint16_t value);
static ssize_t dfu_control_point_write_handler(struct bt_conn *conn, const struct bt_gatt_attr *attr, const void *buf, uint16_t len, uint16_t offset, uint8_t flags);

static ssize_t sd_storage_notify_read_characteristic(struct bt_conn *conn, const struct bt_gatt_attr *attr, void *buf, uint16_t len, uint16_t offset);
static ssize_t get_storage_action(struct bt_conn *conn, const struct bt_gatt_attr *attr, const void *buf, uint16_t len, uint16_t offset, uint8_t flags);
static void sd_storage_notify_ccc_config_changed_handler(const struct bt_gatt_attr *attr, uint16_t value);

//
// Service and Characteristic
//

// Dedicated to audio
// Audio service with UUID 19B10000-E8F2-537E-4F6C-D104768A1214
// exposes following characteristics:
// - Audio data (UUID 19B10001-E8F2-537E-4F6C-D104768A1214) to send audio data (read/notify)
// - Audio codec (UUID 19B10002-E8F2-537E-4F6C-D104768A1214) to send audio codec type (read)
// TODO: The current audio service UUID seems to come from old Intel sample code,
// we should change it to UUID 814b9b7c-25fd-4acd-8604-d28877beee6d
static struct bt_uuid_128 audio_service_uuid = BT_UUID_INIT_128(BT_UUID_128_ENCODE(0x19B10000, 0xE8F2, 0x537E, 0x4F6C, 0xD104768A1214));
static struct bt_uuid_128 audio_characteristic_data_uuid = BT_UUID_INIT_128(BT_UUID_128_ENCODE(0x19B10001, 0xE8F2, 0x537E, 0x4F6C, 0xD104768A1214));
static struct bt_uuid_128 audio_characteristic_format_uuid = BT_UUID_INIT_128(BT_UUID_128_ENCODE(0x19B10002, 0xE8F2, 0x537E, 0x4F6C, 0xD104768A1214));

// Dedicated to storage
// Storage service with UUID 87654321-4321-8765-4321-1234567890ab
// - Storage characteristic notify (UUID 87654321-4321-8765-4321-1234567890ac)
// - Storage characteristic read (UUID 87654321-4321-8765-4321-1234567890ad)
static struct bt_uuid_128 sd_storage_service_uuid = BT_UUID_INIT_128(BT_UUID_128_ENCODE(0x87654321, 0x4321, 0x8765, 0x4321, 0x1234567890ab));
static struct bt_uuid_128 sd_storage_notify_characteristic_uuid = BT_UUID_INIT_128(BT_UUID_128_ENCODE(0x87654321, 0x4321, 0x8765, 0x4321, 0x1234567890ac));
static struct bt_uuid_128 sd_storage_write_characteristic_uuid = BT_UUID_INIT_128(BT_UUID_128_ENCODE(0x87654321, 0x4321, 0x8765, 0x4321, 0x1234567890ad)); // UUID para la característica de escritura

// Audio sttributes
static struct bt_gatt_attr audio_service_attr[] = {
    BT_GATT_PRIMARY_SERVICE(&audio_service_uuid),
    BT_GATT_CHARACTERISTIC(&audio_characteristic_data_uuid.uuid, BT_GATT_CHRC_READ | BT_GATT_CHRC_NOTIFY, BT_GATT_PERM_READ, audio_data_read_characteristic, NULL, NULL),
    BT_GATT_CCC(audio_ccc_config_changed_handler, BT_GATT_PERM_READ | BT_GATT_PERM_WRITE),
    BT_GATT_CHARACTERISTIC(&audio_characteristic_format_uuid.uuid, BT_GATT_CHRC_READ, BT_GATT_PERM_READ, audio_codec_read_characteristic, NULL, NULL),
};

static struct bt_gatt_service audio_service = BT_GATT_SERVICE(audio_service_attr);

// Storage attributes
static struct bt_gatt_attr sd_storage_notify_service_attr[] = {
    BT_GATT_PRIMARY_SERVICE(&sd_storage_service_uuid),
    BT_GATT_CHARACTERISTIC(&sd_storage_notify_characteristic_uuid.uuid, BT_GATT_CHRC_READ | BT_GATT_CHRC_NOTIFY, BT_GATT_PERM_READ, sd_storage_notify_read_characteristic, NULL, NULL),
    BT_GATT_CCC(sd_storage_notify_ccc_config_changed_handler, BT_GATT_PERM_READ | BT_GATT_PERM_WRITE),
    BT_GATT_CHARACTERISTIC(&sd_storage_write_characteristic_uuid.uuid, BT_GATT_CHRC_WRITE, BT_GATT_PERM_WRITE, NULL, get_storage_action, &storage_action),
};

static struct bt_gatt_service sd_storage_notify_service = BT_GATT_SERVICE(sd_storage_notify_service_attr);

// Nordic Legacy DFU service with UUID 00001530-1212-EFDE-1523-785FEABCD123
// exposes following characteristics:
// - Control point (UUID 00001531-1212-EFDE-1523-785FEABCD123) to start the OTA update process (write/notify)
static struct bt_uuid_128 dfu_service_uuid = BT_UUID_INIT_128(BT_UUID_128_ENCODE(0x00001530, 0x1212, 0xEFDE, 0x1523, 0x785FEABCD123));
static struct bt_uuid_128 dfu_control_point_uuid = BT_UUID_INIT_128(BT_UUID_128_ENCODE(0x00001531, 0x1212, 0xEFDE, 0x1523, 0x785FEABCD123));

static struct bt_gatt_attr dfu_service_attr[] = {
    BT_GATT_PRIMARY_SERVICE(&dfu_service_uuid),
    BT_GATT_CHARACTERISTIC(&dfu_control_point_uuid.uuid, BT_GATT_CHRC_WRITE | BT_GATT_CHRC_NOTIFY, BT_GATT_PERM_WRITE, NULL, dfu_control_point_write_handler, NULL),
    BT_GATT_CCC(dfu_ccc_config_changed_handler, BT_GATT_PERM_READ | BT_GATT_PERM_WRITE),
};

static struct bt_gatt_service dfu_service = BT_GATT_SERVICE(dfu_service_attr);

// Advertisement data
static const struct bt_data bt_ad[] = {
    BT_DATA_BYTES(BT_DATA_FLAGS, (BT_LE_AD_GENERAL | BT_LE_AD_NO_BREDR)),
    BT_DATA(BT_DATA_UUID128_ALL, audio_service_uuid.val, sizeof(audio_service_uuid.val)),
    BT_DATA(BT_DATA_NAME_COMPLETE, "Friend", sizeof("Friend") - 1),
};

// Scan response data
static const struct bt_data bt_sd[] = {
    BT_DATA_BYTES(BT_DATA_UUID16_ALL, BT_UUID_16_ENCODE(BT_UUID_DIS_VAL)),
    BT_DATA(BT_DATA_UUID128_ALL, dfu_service_uuid.val, sizeof(dfu_service_uuid.val)),
};

//
// State and Characteristics
//

struct bt_conn *current_connection = NULL;
uint16_t current_mtu = 0;
uint16_t current_package_index = 0;

static void audio_ccc_config_changed_handler(const struct bt_gatt_attr *attr, uint16_t value)
{
    if (value == BT_GATT_CCC_NOTIFY)
    {
        if(verbose) printk("Client subscribed for notifications\n");
    }
    else if (value == 0)
    {
        if(verbose) printk("Client unsubscribed from notifications\n");
    }
    else
    {
        if(verbose) printk("Invalid CCC value: %u\n", value);
    }
}

static ssize_t audio_data_read_characteristic(struct bt_conn *conn, const struct bt_gatt_attr *attr, void *buf, uint16_t len, uint16_t offset)
{
    if(verbose) printk("audio_data_read_characteristic\n");
    return bt_gatt_attr_read(conn, attr, buf, len, offset, NULL, 0);
}

static ssize_t audio_codec_read_characteristic(struct bt_conn *conn, const struct bt_gatt_attr *attr, void *buf, uint16_t len, uint16_t offset)
{
    if(verbose) printk("audio_codec_read_characteristic\n");
    uint8_t value[1] = {CODEC_ID};
    return bt_gatt_attr_read(conn, attr, buf, len, offset, value, sizeof(value));
}

//
// SD storage service Handler
//

static void sd_storage_notify_ccc_config_changed_handler(const struct bt_gatt_attr *attr, uint16_t value)
{
    if (value == BT_GATT_CCC_NOTIFY)
    {
        if(verbose) printk("Client subscribed for SD Storage notifications\n");
    }
    else if (value == 0)
    {
        if(verbose) printk("Client unsubscribed from SD Storage notifications\n");
    }
    else
    {
        if(verbose) printk("Invalid CCC value for SD Storage: %u\n", value);
    }
}

static ssize_t sd_storage_notify_read_characteristic(struct bt_conn *conn, const struct bt_gatt_attr *attr, void *buf, uint16_t len, uint16_t offset)
{
    return bt_gatt_attr_read(conn, attr, buf, len, offset, &notification_value, sizeof(notification_value));
}

static ssize_t get_storage_action(struct bt_conn *conn, const struct bt_gatt_attr *attr, const void *buf, uint16_t len, uint16_t offset, uint8_t flags) 
{
    if (len != sizeof(storage_action)) {
        return BT_GATT_ERR(BT_ATT_ERR_INVALID_ATTRIBUTE_LEN);
    }
    storage_action = *(const uint16_t *)buf;
    return len;
}

//
// DFU Service Handlers
//

static void dfu_ccc_config_changed_handler(const struct bt_gatt_attr *attr, uint16_t value)
{
    if (value == BT_GATT_CCC_NOTIFY)
    {
        if(verbose) printk("Client subscribed for notifications\n");
    }
    else if (value == 0)
    {
        if(verbose) printk("Client unsubscribed from notifications\n");
    }
    else
    {
        if(verbose) printk("Invalid CCC value: %u\n", value);
    }
}

static ssize_t dfu_control_point_write_handler(struct bt_conn *conn, const struct bt_gatt_attr *attr, const void *buf, uint16_t len, uint16_t offset, uint8_t flags)
{
    if(verbose) printk("dfu_control_point_write_handler\n");
    if (len == 1 && ((uint8_t *)buf)[0] == 0x06)
    {
        NRF_POWER->GPREGRET = 0xA8;
        NVIC_SystemReset();
    }
    else if (len == 2 && ((uint8_t *)buf)[0] == 0x01)
    {
        uint8_t notification_value = 0x10;
        bt_gatt_notify(conn, attr, &notification_value, sizeof(notification_value));

        NRF_POWER->GPREGRET = 0xA8;
        NVIC_SystemReset();
    }
    return len;
}

//
// Battery Service Handlers
//

struct k_work battery_work;

void broadcast_battery_level(struct k_work *work_item) {
    uint16_t battery_millivolt;
    uint8_t battery_percentage;

    if (battery_get_millivolt(&battery_millivolt) == 0 &&
        battery_get_percentage(&battery_percentage, battery_millivolt) == 0) {

        if(verbose) printk("Battery at %d mV (capacity %d%%)\n", battery_millivolt, battery_percentage);

        // Use the Zephyr BAS function to set (and notify) the battery level
        int err = bt_bas_set_battery_level(battery_percentage);
        if (err) {
            if(verbose) printk("Error updating battery level: %d\n", err);
        }
    } else {
        if(verbose) printk("Failed to read battery level\n");
    }
}

//
// Connection Callbacks
//

static void _transport_connected(struct bt_conn *conn, uint8_t err)
{
    struct bt_conn_info info = {0};

    err = bt_conn_get_info(conn, &info);
    if (err)
    {
        if(verbose) printk("Failed to get connection info (err %d)\n", err);
        return;
    }
    
    reset_buf_event = true;
    
    current_connection = bt_conn_ref(conn);
    current_mtu = info.le.data_len->tx_max_len;
    if(verbose) printk("\n");
    if(verbose) printk("Interval: %d, latency: %d, timeout: %d\n", info.le.interval, info.le.latency, info.le.timeout);
    if(verbose) printk("TX PHY %s, RX PHY %s\n", phy2str(info.le.phy->tx_phy), phy2str(info.le.phy->rx_phy));
    if(verbose) printk("LE data len updated: TX (len: %d time: %d) RX (len: %d time: %d)\n", info.le.data_len->tx_max_len, info.le.data_len->tx_max_time, info.le.data_len->rx_max_len, info.le.data_len->rx_max_time);

    k_work_submit(&battery_work);
}

static void _transport_disconnected(struct bt_conn *conn, uint8_t err)
{
    if(verbose) printk("Disconnected\n");
    current_connection = NULL;
    reset_buf_event = true;
    bt_conn_unref(conn);
    storage_action = 0;
    current_mtu = 0;
}

static bool _le_param_req(struct bt_conn *conn, struct bt_le_conn_param *param)
{
    if(verbose) printk("Connection parameters update request received.\n");
    if(verbose) printk("Minimum interval: %d, Maximum interval: %d\n",
                param->interval_min, param->interval_max);
    if(verbose) printk("Latency: %d, Timeout: %d\n", param->latency, param->timeout);

    return true;
}

static void _le_param_updated(struct bt_conn *conn, uint16_t interval,
                              uint16_t latency, uint16_t timeout)
{
    if(verbose) printk("Connection parameters updated.\n"
                " interval: %d, latency: %d, timeout: %d\n",
                interval, latency, timeout);
}

static void _le_phy_updated(struct bt_conn *conn,
                            struct bt_conn_le_phy_info *param)
{
    if(verbose) printk("LE PHY updated: TX PHY %s, RX PHY %s\n",
                phy2str(param->tx_phy), phy2str(param->rx_phy));
}

static void _le_data_length_updated(struct bt_conn *conn,
                                    struct bt_conn_le_data_len_info *info)
{
    if(verbose) printk("LE data len updated: TX (len: %d time: %d)"
                " RX (len: %d time: %d)\n",
                info->tx_max_len,
                info->tx_max_time, info->rx_max_len, info->rx_max_time);
    current_mtu = info->tx_max_len;
}

static struct bt_conn_cb _callback_references = {
    .connected = _transport_connected,
    .disconnected = _transport_disconnected,
    .le_param_req = _le_param_req,
    .le_param_updated = _le_param_updated,
    .le_phy_updated = _le_phy_updated,
    .le_data_len_updated = _le_data_length_updated,
};

//
// Ring Buffer
//

#define NET_BUFFER_HEADER_SIZE 3
#define RING_BUFFER_HEADER_SIZE 2
static uint8_t tx_queue[NETWORK_RING_BUF_SIZE * (CODEC_OUTPUT_MAX_BYTES + RING_BUFFER_HEADER_SIZE)];
static uint8_t tx_buffer[CODEC_OUTPUT_MAX_BYTES + RING_BUFFER_HEADER_SIZE];
static uint8_t tx_buffer_2[CODEC_OUTPUT_MAX_BYTES + RING_BUFFER_HEADER_SIZE];
static uint32_t tx_buffer_size = 0;
static struct ring_buf ring_buf;

static bool write_to_tx_queue(uint8_t *data, size_t size)
{
    if (size > CODEC_OUTPUT_MAX_BYTES)
    {
        return false;
    }

    // Copy data (TODO: Avoid this copy)
    tx_buffer_2[0] = size & 0xFF;
    tx_buffer_2[1] = (size >> 8) & 0xFF;
    memcpy(tx_buffer_2 + RING_BUFFER_HEADER_SIZE, data, size);

    // Write to ring buffer
    int written = ring_buf_put(&ring_buf, tx_buffer_2, (CODEC_OUTPUT_MAX_BYTES + RING_BUFFER_HEADER_SIZE)); // It always fits completely or not at all
    if (written != CODEC_OUTPUT_MAX_BYTES + RING_BUFFER_HEADER_SIZE)
    {
        return false;
    }
    else
    {
        return true;
    }
}

static bool read_from_tx_queue()
{
    // Read from ring buffer
    // memset(tx_buffer, 0, sizeof(tx_buffer));
    tx_buffer_size = ring_buf_get(&ring_buf, tx_buffer, (CODEC_OUTPUT_MAX_BYTES + RING_BUFFER_HEADER_SIZE)); // It always fits completely or not at all
    if (tx_buffer_size != (CODEC_OUTPUT_MAX_BYTES + RING_BUFFER_HEADER_SIZE))
    {
        if(verbose) printk("Failed to read from ring buffer %d\n", tx_buffer_size);
        return false;
    }

    // Adjust size
    tx_buffer_size = tx_buffer[0] + (tx_buffer[1] << 8);

    return true;
}

//
// Pusher
//

// Thread
K_THREAD_STACK_DEFINE(pusher_stack, 1024);
static struct k_thread pusher_thread;
static uint16_t packet_next_index = 0;
static uint8_t pusher_temp_data[CODEC_OUTPUT_MAX_BYTES + NET_BUFFER_HEADER_SIZE];

static bool push_to_gatt(struct bt_conn *conn)
{
    // Read data from ring buffer
    if (!read_from_tx_queue())
    {
        return false;
    }

    if (storage_action != 1)
    {
        return false;
    }

    printf("Sending audio...\n");

    // Push each frame
    uint8_t *buffer = tx_buffer + RING_BUFFER_HEADER_SIZE;
    uint32_t offset = 0;
    uint8_t index = 0;
    while (offset < tx_buffer_size)
    {
        // Recombine packet
        uint32_t id = packet_next_index++;
        uint32_t packet_size = MIN(current_mtu - NET_BUFFER_HEADER_SIZE, tx_buffer_size - offset);
        pusher_temp_data[0] = id & 0xFF;
        pusher_temp_data[1] = (id >> 8) & 0xFF;
        pusher_temp_data[2] = index;
        memcpy(pusher_temp_data + NET_BUFFER_HEADER_SIZE, buffer + offset, packet_size);
        offset += packet_size;
        index++;

        while (true)
        {

            int err = bt_gatt_notify(conn, &audio_service.attrs[1], pusher_temp_data, packet_size + NET_BUFFER_HEADER_SIZE); // Try send notification
            
            if (err == -EAGAIN || err == -ENOMEM)
            {
                continue;
            }

            // Break if success
            break;
        }
    }

    return true;
}

static bool push_to_storage(struct bt_conn *conn)
{
    // Read data from ring buffer
    if (!read_from_tx_queue())
    {
        return false;
    }

    if (storage_action != 0)
    {
        return false;
    }

    //printf("Saving files...\n");

    // Push each frame
    uint8_t *buffer = tx_buffer + RING_BUFFER_HEADER_SIZE;
    uint32_t offset = 0;
    uint8_t index = 0;
    while (offset < tx_buffer_size)
    {
        // Recombine packet
        uint32_t id = packet_next_index++;
        uint32_t packet_size = MIN(current_mtu - NET_BUFFER_HEADER_SIZE, tx_buffer_size - offset);
        pusher_temp_data[0] = id & 0xFF;
        pusher_temp_data[1] = (id >> 8) & 0xFF;
        pusher_temp_data[2] = index;
        memcpy(pusher_temp_data + NET_BUFFER_HEADER_SIZE, buffer + offset, packet_size);
        offset += packet_size;
        index++;

        while (true)
        {
            int ret = save_audio_in_storage(pusher_temp_data, packet_size + NET_BUFFER_HEADER_SIZE);

            if(ret < 0)
            {
                continue;
            }

            break;
        }
    }

    return true;
}

uint32_t id = 0;

int read_audio_in_storage(void)
{
    if(storage_action == 2 && notification_value > -1)
	{
        char *file = (char *)malloc(20);

        snprintf(file, 20, "audio/%u.txt", notification_value + 1);

        printf("Sending files...\n");

        size_t index = 0;

        while (1)
        {
			ReadParams audio_frame = read_file_fragmment(file, 651,(651*(index))+index);
            if(audio_frame.ret != 651)
            {
                if(notification_value > -1)
                {
                    char *prev_file = (char *)malloc(30);
                    snprintf(prev_file, 30, "audio/%u.txt,status:OK", notification_value + 1);
                    notification_value = notification_value - 1;
                    write_info(prev_file);
                    free(prev_file);
                } 
                else if(notification_value < 0)
                {
                    write_info("");
                }

                delete_file(file);
                
                free(file);

                return -2;
            }

            if(!current_connection)
            {
                return -1;
            }

            size_t size;
            
            char *revert = revert_format(audio_frame.data);
            audio_frame.data = NULL;
            uint8_t *audio = convert_to_uint8_array(revert, &size);
            free(revert);

            for(uint8_t i = 0; i < 2; i++)
            {
                bt_gatt_notify(current_connection, &audio_service.attrs[1], audio, size); // Try send notification
            }
            

            free(audio);

            index++;
		}

        free(file);

        return 0;
	}
    
    return -1;
}

void pusher(void)
{
    while (1)
    {

        //
        // Load current connection
        //

        struct bt_conn *conn = current_connection;
        bool use_gatt = true;
        if (conn)
        {
            conn = bt_conn_ref(conn);
        }
        bool valid = true;
        if (current_mtu < MINIMAL_PACKET_SIZE)
        {
            valid = false;
        }
        else if (!conn)
        {
            valid = false;
        }
        else
        {
            valid = bt_gatt_is_subscribed(conn, &audio_service.attrs[1], BT_GATT_CCC_NOTIFY); // Check if subscribed
        }

        // If no valid mode exists - discard whole buffer
        
        if (!valid)
        {
            if (storage_action < 0 || storage_action > 1 || reset_buf_event)
            {
                ring_buf_reset(&ring_buf);
                reset_buf_event = false;
                k_sleep(K_MSEC(10));
            }
        }

        // Handle GATT && STORAGE
        if (use_gatt && valid)
        {
            bool sent = push_to_gatt(conn);
            if (!sent) k_sleep(K_MSEC(50));
        } else
        {
            if(!reset_buf_event)
            {
                bool sent = push_to_storage(conn);
                if (!sent) k_sleep(K_MSEC(50));
            }
        }

        if (conn)
        {
            bt_conn_unref(conn);
        }
    }
}

//
// Public functions
//

int transport_start()
{
    // Configure callbacks
    bt_conn_cb_register(&_callback_references);

    // Enable Bluetooth
    int err = bt_enable(NULL);
    if (err)
    {
        if(verbose) printk("Bluetooth init failed (err %d)\n", err);
        return err;
    }
    if(verbose) printk("Bluetooth initialized\n");

    // Start advertising
    bt_gatt_service_register(&audio_service);
    bt_gatt_service_register(&dfu_service);
    bt_gatt_service_register(&sd_storage_notify_service);
    err = bt_le_adv_start(BT_LE_ADV_CONN, bt_ad, ARRAY_SIZE(bt_ad), bt_sd, ARRAY_SIZE(bt_sd));
    if (err)
    {
        if(verbose) printk("Advertising failed to start (err %d)\n", err);
        return err;
    }
    else
    {
        if(verbose) printk("Advertising successfully started\n");
    }

    int battErr = 0;

	battErr |= battery_init();
	battErr |= battery_charge_start();

	if (battErr)
	{
		if(verbose) printk("Battery init failed (err %d)\n", battErr);
	}
	else
	{
		if(verbose) printk("Battery initialized\n");
	}

    k_work_init(&battery_work, broadcast_battery_level);

    // Start pusher
    ring_buf_init(&ring_buf, sizeof(tx_queue), tx_queue);
    k_thread_create(&pusher_thread, pusher_stack, K_THREAD_STACK_SIZEOF(pusher_stack), (k_thread_entry_t)pusher, NULL, NULL, NULL, K_PRIO_PREEMPT(7), 0, K_NO_WAIT);

    return 0;
}

struct bt_conn *get_current_connection()
{
    return current_connection;
}

int broadcast_audio_packets(uint8_t *buffer, size_t size)
{
    while (!write_to_tx_queue(buffer, size))
    {
        k_sleep(K_MSEC(1));
    }
    return 0;
}
```

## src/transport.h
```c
#pragma once
#include <zephyr/kernel.h>

int read_audio_in_storage(void);

int transport_start();

int broadcast_audio_packets(uint8_t *buffer, size_t size);
```
